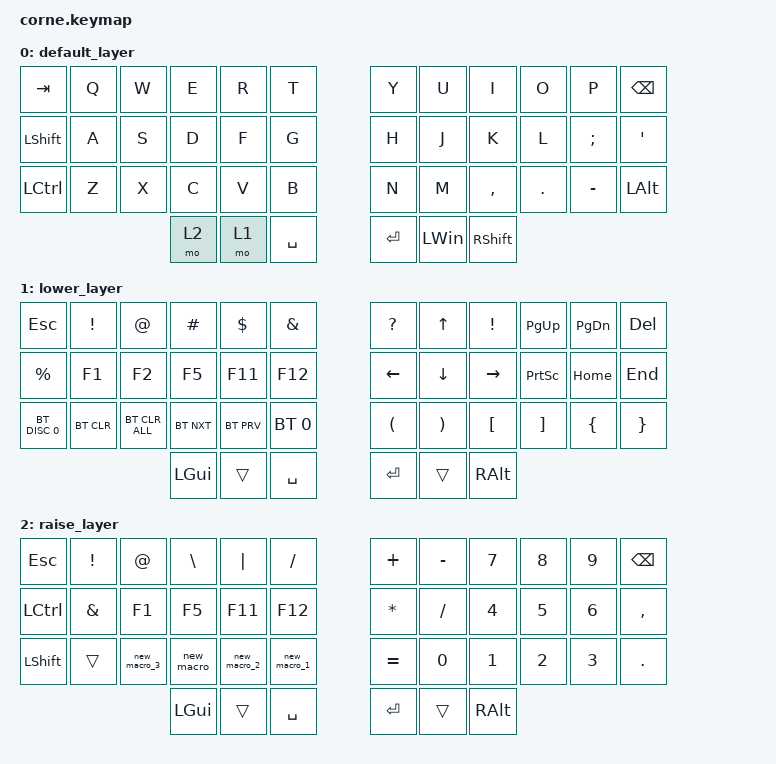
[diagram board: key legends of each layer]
/*
 * Copyright (c) 2020 The ZMK Contributors
 *
 * SPDX-License-Identifier: MIT
 */

#include <behaviors.dtsi>
#include <dt-bindings/zmk/bt.h>
#include <dt-bindings/zmk/keys.h>

/ {
    macros {
        new_macro: new_macro {
            compatible = "zmk,behavior-macro";
            #binding-cells = <0>;
            bindings = <&none &kp LS(S) &kp U &kp P &kp N3 &kp R &kp DOT &kp N4 &kp D &kp M &kp N1 &kp N &kp DOT &kp LS(C) &kp N4 &kp M &kp N3>;
            label = "NEW_MACRO";
        };

        new_macro_1: new_macro_1 {
            compatible = "zmk,behavior-macro";
            #binding-cells = <0>;
            bindings = <&none &kp LS(D) &kp I &kp N &kp O &kp S &kp A &kp U &kp R &kp I &kp A &kp DOT>;
            label = "NEW_MACRO_1";
        };

        new_macro_2: new_macro_2 {
            compatible = "zmk,behavior-macro";
            #binding-cells = <0>;
            bindings = <&none &kp R &kp O &kp D &kp R &kp I &kp G &kp O &kp DOT &kp V &kp A &kp L &kp L &kp E &kp J &kp O>;
            label = "NEW_MACRO_2";
        };

        new_macro_3: new_macro_3 {
            compatible = "zmk,behavior-macro";
            #binding-cells = <0>;
            bindings = <&none &kp R &kp O &kp D &kp R &kp I &kp G &kp O &kp DOT &kp V &kp A &kp L &kp L &kp E &kp J &kp O &kp AT &kp L &kp I &kp M &kp M &kp A &kp T &kp MINUS &kp G &kp R &kp O &kp U &kp P &kp DOT &kp C &kp O &kp M>;
            label = "NEW_MACRO_3";
        };
    };

    keymap {
        compatible = "zmk,keymap";

        default_layer {
            // -----------------------------------------------------------------------------------------
            // |  TAB |  Q  |  W  |  E  |  R  |  T  |   |  Y  |  U   |  I  |  O  |  P  | BSPC |
            // | CTRL |  A  |  S  |  D  |  F  |  G  |   |  H  |  J   |  K  |  L  |  ;  |  '   |
            // | SHFT |  Z  |  X  |  C  |  V  |  B  |   |  N  |  M   |  ,  |  .  |  /  | ESC  |
            //                    | GUI | LWR | SPC |   | ENT | RSE  | ALT |

            bindings = <
&kp TAB           &kp Q  &kp W  &kp E  &kp R  &kp T        &kp Y    &kp U         &kp I            &kp O    &kp P      &kp BSPC
&kp LEFT_SHIFT    &kp A  &kp S  &kp D  &kp F  &kp G        &kp H    &kp J         &kp K            &kp L    &kp SEMI   &kp SQT
&kp LEFT_CONTROL  &kp Z  &kp X  &kp C  &kp V  &kp B        &kp N    &kp M         &kp COMMA        &kp DOT  &kp MINUS  &kp LEFT_ALT
                                &mo 2  &mo 1  &kp SPACE    &kp RET  &kp LEFT_WIN  &kp RIGHT_SHIFT
            >;
        };

        lower_layer {
            // -----------------------------------------------------------------------------------------
            // |  TAB |  1  |  2  |  3  |  4  |  5  |   |  6  |  7  |  8  |  9  |  0  | BSPC |
            // | BTCLR| BT1 | BT2 | BT3 | BT4 | BT5 |   | LFT | DWN |  UP | RGT |     |      |
            // | SHFT |     |     |     |     |     |   |     |     |     |     |     |      |
            //                    | GUI |     | SPC |   | ENT |     | ALT |

            bindings = <
&kp ESCAPE     &kp EXCLAMATION  &kp AT_SIGN     &kp HASH    &kp DOLLAR  &kp AMPS        &kp QUESTION  &kp UP_ARROW  &kp EXCLAMATION  &kp PAGE_UP        &kp PAGE_DOWN  &kp DELETE
&kp PERCENT    &kp F1           &kp F2          &kp F5      &kp F11     &kp F12         &kp LEFT      &kp DOWN      &kp RIGHT        &kp PRINTSCREEN    &kp HOME       &kp END
&bt BT_DISC 0  &bt BT_CLR       &bt BT_CLR_ALL  &bt BT_NXT  &bt BT_PRV  &bt BT_SEL 0    &kp LPAR      &kp RPAR      &kp LBKT         &kp RIGHT_BRACKET  &kp LBRC       &kp RBRC
                                                &kp LGUI    &trans      &kp SPACE       &kp RET       &trans        &kp RALT
            >;
        };

        raise_layer {
            // -----------------------------------------------------------------------------------------
            // |  TAB |  !  |  @  |  #  |  $  |  %  |   |  ^  |  &  |  *  |  (  |  )  | BSPC |
            // | CTRL |     |     |     |     |     |   |  -  |  =  |  [  |  ]  |  \  |  `   |
            // | SHFT |     |     |     |     |     |   |  _  |  +  |  {  |  }  | "|" |  ~   |
            //                    | GUI |     | SPC |   | ENT |     | ALT |

            bindings = <
&kp ESCAPE  &kp EXCL       &kp AT        &kp BACKSLASH  &kp PIPE      &kp SLASH       &kp PLUS   &kp MINUS  &kp N7        &kp N8        &kp N9        &kp BACKSPACE
&kp LCTRL   &kp AMPERSAND  &kp F1        &kp F5         &kp F11       &kp F12         &kp ASTRK  &kp SLASH  &kp NUMBER_4  &kp N5        &kp NUMBER_6  &kp COMMA
&kp LSHFT   &trans         &new_macro_3  &new_macro     &new_macro_2  &new_macro_1    &kp EQUAL  &kp N0     &kp NUMBER_1  &kp NUMBER_2  &kp NUMBER_3  &kp DOT
                                         &kp LGUI       &trans        &kp SPACE       &kp RET    &trans     &kp RALT
            >;
        };
    };
};
